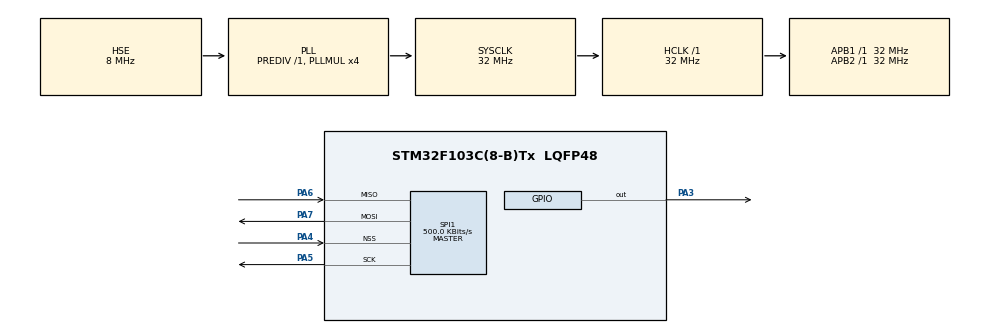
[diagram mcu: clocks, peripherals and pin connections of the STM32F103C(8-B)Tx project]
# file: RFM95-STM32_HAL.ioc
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Mcu.Family=STM32F1
Mcu.Name=STM32F103C(8-B)Tx
Mcu.Package=LQFP48
NVIC.PriorityGroup=NVIC_PRIORITYGROUP_4
PA13.Mode=Serial_Wire
PA13.Signal=SYS_JTMS-SWDIO
PA14.Mode=Serial_Wire
PA14.Signal=SYS_JTCK-SWCLK
PA3.Signal=GPIO_Output
PA4.Mode=NSS_Signal_Hard_Input
PA4.Signal=SPI1_NSS
PA5.Mode=Full_Duplex_Master
PA5.Signal=SPI1_SCK
PA6.Mode=Full_Duplex_Master
PA6.Signal=SPI1_MISO
PA7.Mode=Full_Duplex_Master
PA7.Signal=SPI1_MOSI
PC14-OSC32_IN.Mode=LSE-External-Oscillator
PC14-OSC32_IN.Signal=RCC_OSC32_IN
PC15-OSC32_OUT.Mode=LSE-External-Oscillator
PC15-OSC32_OUT.Signal=RCC_OSC32_OUT
PD0-OSC_IN.Mode=HSE-External-Oscillator
PD0-OSC_IN.Signal=RCC_OSC_IN
PD1-OSC_OUT.Mode=HSE-External-Oscillator
PD1-OSC_OUT.Signal=RCC_OSC_OUT
ProjectManager.HeapSize=0x200
ProjectManager.StackSize=0x400
ProjectManager.TargetToolchain=STM32CubeIDE
RCC.AHBFreq_Value=32000000
RCC.APB1Freq_Value=32000000
RCC.APB1TimFreq_Value=32000000
RCC.APB2Freq_Value=32000000
RCC.APB2TimFreq_Value=32000000
RCC.HCLKFreq_Value=32000000
RCC.PLLMUL=RCC_PLL_MUL4
RCC.PLLSourceVirtual=RCC_PLLSOURCE_HSE
RCC.SYSCLKFreq_VALUE=32000000
RCC.SYSCLKSource=RCC_SYSCLKSOURCE_PLLCLK
RCC.USBFreq_Value=32000000
SPI1.BaudRatePrescaler=SPI_BAUDRATEPRESCALER_64
SPI1.CalculateBaudRate=500.0 KBits/s
SPI1.Direction=SPI_DIRECTION_2LINES
SPI1.Mode=SPI_MODE_MASTER
SPI1.VirtualNSS=VM_NSSHARD
SPI1.VirtualType=VM_MASTER
board=custom

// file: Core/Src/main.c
/* USER CODE BEGIN Header */
/**
  ******************************************************************************
  * @file           : main.c
  * @brief          : Main program body
  ******************************************************************************
  * @attention
  *
  * Copyright (c) 2023 STMicroelectronics.
  * All rights reserved.
  *
  * This software is licensed under terms that can be found in the LICENSE file
  * in the root directory of this software component.
  * If no LICENSE file comes with this software, it is provided AS-IS.
  *
  ******************************************************************************
  */
/* USER CODE END Header */
#include "main.h"
#include "spi.h"
#include "gpio.h"

/* USER CODE BEGIN Includes */
#include "lora.h"
#include "stdio.h"
#include "string.h"
#include "stdlib.h"
#include "stdint.h"
/* USER CODE END Includes */

/* USER CODE BEGIN PM */
//#define MASTER //Sender
#define SLAVE //Receiver(s)
/* USER CODE END PM */

/* USER CODE BEGIN PV */
int test = 0;
uint8_t* test_var = (uint8_t *)"test";
uint8_t* test1_var = (uint8_t *)"four";
uint8_t buffer[32];
uint8_t packet_avail = 0;
char instruct[50];
char version[10];

/* USER CODE END PV */

void SystemClock_Config(void);

/* USER CODE BEGIN 0 */
//void HAL_GPIO_EXTI_Callback(uint16_t GPIO_Pin);

/* USER CODE END 0 */

int main(void)
{

  /* MCU Configuration--------------------------------------------------------*/

  /* Reset of all peripherals, Initializes the Flash interface and the Systick. */
  HAL_Init();

  /* USER CODE BEGIN Init */
  lora_sx1276 lora;

  /* USER CODE END Init */

  /* Configure the system clock */
  SystemClock_Config();

  /* Initialize all configured peripherals */
  MX_GPIO_Init();
  MX_SPI1_Init();
  /* USER CODE BEGIN 2 */

  // Initialize LoRa module
  uint8_t init = lora_init(&lora, &hspi1, GPIOA, GPIO_PIN_4, LORA_BASE_FREQUENCY_EU);
  if (init != LORA_OK) {
	// Initialization failed
    test = 404;
  } else
	  test = 505;

//  uint8_t* ver = (uint8_t *)lora_version(&lora);

  char version = lora_version(&lora);
  uint8_t ver = lora_version(&lora);
  if (ver != LORA_COMPATIBLE_VERSION) {
    sprintf(instruct, "Got wrong radio version 0x%x, expected 0x12", ver);
    sprintf(version, "0x%x", ver);
    return LORA_ERROR;
  }
//  void HAL_GPIO_EXTI_Callback(uint16_t GPIO_Pin)
//  {
//      if (GPIO_Pin == DIO0_Pin)
//      {
//  		#ifdef SLAVE
//      	lora_enable_interrupt_rx_done(&lora);
//  		#endif
//
//  		#ifdef MASTER
//      	lora_enable_interrupt_tx_done(&lora);
//  		#endif
//      }
//  }

  /* USER CODE END 2 */

  /* Infinite loop */
  /* USER CODE BEGIN WHILE */
  while (1)
  {
	#ifdef SLAVE
	lora_mode_standby(&lora);
	test = 606;
    // Send packets in blocking mode
	lora_send_packet(&lora, test_var, 4);
	HAL_Delay(5);
	lora_send_packet(&lora, test1_var, 4);
	HAL_Delay(5);

	uint8_t packet_avail = lora_is_transmitting(&lora);
		if (packet_avail == 0)
			sprintf(instruct, "No packet transmission");
		else
			sprintf(instruct, "Transmitting packet");

	#endif

	#ifdef MASTER
	// Standby mode
	lora_mode_standby(&lora);
	uint8_t packet_avail = lora_is_packet_available(&lora);
	if (packet_avail == 0)
		sprintf(instruct, "No packet available");
	else
		sprintf(instruct, "Packet ready");

	// Put LoRa modem into continuous receive mode
	lora_mode_receive_continuous(&lora);
	// Wait for packet up to 10sec
	uint8_t res;
	uint8_t len = lora_receive_packet_blocking(&lora, buffer, sizeof(buffer), 10000, &res);
	if (res != LORA_OK) {
	  // Receive failed
		test = 505;
	}
	test = 707;
	buffer[len] = 0;  // null terminate string to print it
//	printf("'%s'\n", buffer);
	#endif

    /* USER CODE END WHILE */

    /* USER CODE BEGIN 3 */
  }
  lora_mode_sleep(&lora);

//  #ifdef SLAVE
//  lora_clear_interrupt_tx_done(&lora);
//  #endif
  /* USER CODE END 3 */
}

void SystemClock_Config(void)
{
  RCC_OscInitTypeDef RCC_OscInitStruct = {0};
  RCC_ClkInitTypeDef RCC_ClkInitStruct = {0};

  /** Initializes the RCC Oscillators according to the specified parameters
  * in the RCC_OscInitTypeDef structure.
  */
  RCC_OscInitStruct.OscillatorType = RCC_OSCILLATORTYPE_HSE;
  RCC_OscInitStruct.HSEState = RCC_HSE_ON;
  RCC_OscInitStruct.HSEPredivValue = RCC_HSE_PREDIV_DIV1;
  RCC_OscInitStruct.HSIState = RCC_HSI_ON;
  RCC_OscInitStruct.PLL.PLLState = RCC_PLL_ON;
  RCC_OscInitStruct.PLL.PLLSource = RCC_PLLSOURCE_HSE;
  RCC_OscInitStruct.PLL.PLLMUL = RCC_PLL_MUL4;
  if (HAL_RCC_OscConfig(&RCC_OscInitStruct) != HAL_OK)
  {
    Error_Handler();
  }

  /** Initializes the CPU, AHB and APB buses clocks
  */
  RCC_ClkInitStruct.ClockType = RCC_CLOCKTYPE_HCLK|RCC_CLOCKTYPE_SYSCLK
                              |RCC_CLOCKTYPE_PCLK1|RCC_CLOCKTYPE_PCLK2;
  RCC_ClkInitStruct.SYSCLKSource = RCC_SYSCLKSOURCE_PLLCLK;
  RCC_ClkInitStruct.AHBCLKDivider = RCC_SYSCLK_DIV1;
  RCC_ClkInitStruct.APB1CLKDivider = RCC_HCLK_DIV1;
  RCC_ClkInitStruct.APB2CLKDivider = RCC_HCLK_DIV1;

  if (HAL_RCC_ClockConfig(&RCC_ClkInitStruct, FLASH_LATENCY_1) != HAL_OK)
  {
    Error_Handler();
  }
}

void Error_Handler(void)
{
  __disable_irq();
  while (1)
  {
  }
}
